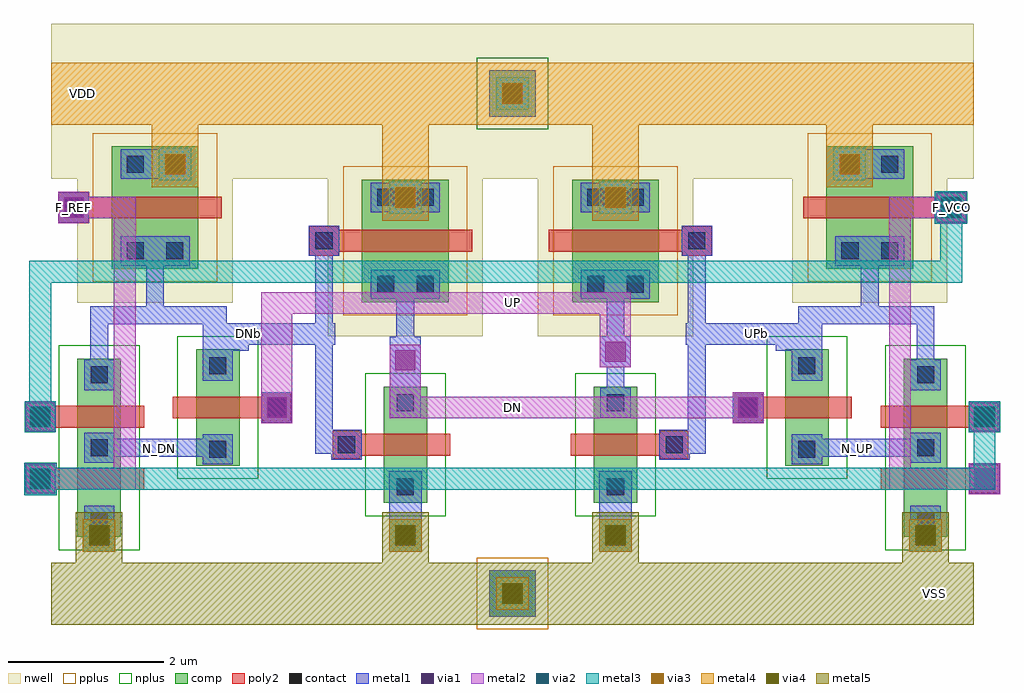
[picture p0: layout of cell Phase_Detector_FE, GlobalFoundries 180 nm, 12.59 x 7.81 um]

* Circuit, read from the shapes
.subckt Phase_Detector_FE DN DNb F_REF F_VCO N_DN N_UP UP UPb VDD VSS
XM1 N_DN F_REF VSS VSS nfet_03v3 w=0.56u l=0.28u
XM2 DNb F_VCO N_DN VSS nfet_03v3 w=0.56u l=0.28u
XM3 DNb UP N_DN VSS nfet_03v3 w=0.56u l=0.28u
XM4 DN DNb VSS VSS nfet_03v3 w=0.56u l=0.28u
XM5 UP UPb VSS VSS nfet_03v3 w=0.56u l=0.28u
XM6 UPb DN N_UP VSS nfet_03v3 w=0.56u l=0.28u
XM7 N_UP F_VCO VSS VSS nfet_03v3 w=0.56u l=0.28u
XM8 UPb F_REF N_UP VSS nfet_03v3 w=0.56u l=0.28u
XM9 VDD F_REF DNb VDD pfet_03v3 w=1.12u l=0.28u
XM10 VDD DNb DN VDD pfet_03v3 w=1.12u l=0.28u
XM11 VDD UPb UP VDD pfet_03v3 w=1.12u l=0.28u
XM12 VDD F_VCO UPb VDD pfet_03v3 w=1.12u l=0.28u
.ends

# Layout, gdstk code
from math import pi, radians
import gdstk
lib = gdstk.Library(unit=1e-6, precision=1e-09)
def R(c, l, rs):  # rectangles x0, y0, x1, y1
    for r in rs: c.add(gdstk.rectangle(r[:2], r[2:], *l))
def A(c, l, x, y, w, h, nx, ny, dx, dy):  # array of equal rectangles
    R(c, l, [(x+i*dx, y+j*dy, x+i*dx+w, y+j*dy+h) for i in range(nx) for j in range(ny)])
nwell = (21, 0)
comp = (22, 0)
poly2 = (30, 0)
pplus = (31, 0)
nplus = (32, 0)
contact = (33, 0)
metal1 = (34, 0)
via1 = (35, 0)
metal2 = (36, 0)
via2 = (38, 0)
via3 = (40, 0)
via4 = (41, 0)
metal3 = (42, 0)
metal4 = (46, 0)
metal5 = (81, 0)

via_dev = lib.new_cell('via_dev')
R(via_dev, metal1, [(0,0,0.4,0.4)])
R(via_dev, via1, [(0.07,0.07,0.33,0.33)])
R(via_dev, metal2, [(0,0,0.4,0.4)])

nfet_1 = lib.new_cell('nfet$1')
R(nfet_1, comp, [(-0.42,0,0,0.56), (0,0,0.66,0.56), (0.66,0,1.08,0.56)])
R(nfet_1, poly2, [(0.19,-0.3,0.47,0.86), (0.15,0.86,0.51,1.22)])
R(nfet_1, nplus, [(-0.59,-0.24,1.25,0.8)])
R(nfet_1, contact, [(-0.32,0.17,-0.1,0.39), (0.76,0.17,0.98,0.39), (0.22,0.93,0.44,1.15)])
R(nfet_1, metal1, [(-0.405,0.085,-0.015,0.475), (0.675,0.085,1.065,0.475), (-0.4,0.089,-0.02,0.471), (0.68,0.089,1.06,0.471), (0.135,0.845,0.525,1.235), (0.14,0.849,0.52,1.231)])

pfet = lib.new_cell('pfet')
R(pfet, nwell, [(-0.9,-0.44,1.56,1.56)])
R(pfet, comp, [(-0.46,0,0,1.12), (0,0,0.66,1.12), (0.66,0,1.12,1.12)])
R(pfet, poly2, [(0.19,-0.3,0.47,1.42), (0.14,1.42,0.52,1.8)])
R(pfet, pplus, [(-0.63,-0.24,1.29,1.36)])
R(pfet, contact, [(-0.34,0.195,-0.12,0.415), (0.78,0.195,1,0.415), (-0.34,0.705,-0.12,0.925), (0.78,0.705,1,0.925), (0.22,1.5,0.44,1.72)])
R(pfet, metal1, [(-0.42,0.115,-0.04,1.005), (0.7,0.115,1.08,1.005), (0.135,1.415,0.525,1.805), (0.14,1.419,0.52,1.801)])

inverter = lib.new_cell('Inverter')
inverter.add(gdstk.FlexPath([(0.02,-0.96),(0.02,0.57)], 0.23, ends="flush", simple_path=True, layer=34, datatype=0))  # metal1
inverter.add(gdstk.FlexPath([(-0.74,-1.5),(-1.03,-1.5),(-1.03,1.13)], 0.23, ends="flush", simple_path=True, layer=34, datatype=0))  # metal1
inverter.add(gdstk.Reference(nfet_1, (0.3,-1.83), rotation=pi/2))
inverter.add(gdstk.Reference(pfet, (0.58,0.8), rotation=pi/2))

nfet_2 = lib.new_cell('nfet$2')
R(nfet_2, comp, [(-0.42,0,0,0.56), (0,0,0.66,0.56), (0.66,0,1.08,0.56)])
R(nfet_2, poly2, [(0.15,-0.66,0.51,-0.3), (0.19,-0.3,0.47,0.86)])
R(nfet_2, nplus, [(-0.59,-0.24,1.25,0.8)])
R(nfet_2, contact, [(0.22,-0.59,0.44,-0.37), (-0.32,0.17,-0.1,0.39), (0.76,0.17,0.98,0.39)])
R(nfet_2, metal1, [(0.135,-0.675,0.525,-0.285), (0.14,-0.671,0.52,-0.289), (-0.405,0.085,-0.015,0.475), (0.675,0.085,1.065,0.475), (-0.4,0.089,-0.02,0.471), (0.68,0.089,1.06,0.471)])

nfet = lib.new_cell('nfet')
R(nfet, comp, [(-0.42,0,0,0.56), (0,0,1.46,0.56), (1.46,0,1.88,0.56)])
R(nfet, poly2, [(0.19,-0.3,0.47,0.86), (0.99,-0.3,1.27,0.86), (0.15,0.86,0.51,1.22), (0.95,0.86,1.31,1.22)])
R(nfet, nplus, [(-0.59,-0.24,2.05,0.8)])
A(nfet, contact, -0.32, 0.17, 0.22, 0.22, 3, 1, 0.94, 0)
R(nfet, contact, [(0.22,0.93,0.44,1.15), (1.02,0.93,1.24,1.15)])
A(nfet, metal1, -0.405, 0.085, 0.39, 0.39, 3, 1, 0.94, 0)
A(nfet, metal1, -0.4, 0.089, 0.38, 0.382, 3, 1, 0.94, 0)
R(nfet, metal1, [(0.135,0.845,0.525,1.235), (0.935,0.845,1.325,1.235), (0.14,0.849,0.52,1.231), (0.94,0.849,1.32,1.231)])

phase_blk = lib.new_cell('Phase_BLK')
R(phase_blk, via1, [(-1.97,-2.3,-1.71,-2.04), (-1.97,-1.5,-1.71,-1.24), (1.08,-1.38,1.34,-1.12), (-1.54,1.2,-1.28,1.46)])
R(phase_blk, metal2, [(-2.04,-2.37,-1.64,-1.97), (-2.04,-1.57,-1.64,-1.17), (1.01,-1.45,1.41,-1.05), (-1.61,1.13,-1.21,1.53)])
R(phase_blk, via2, [(-1.97,-1.5,-1.71,-1.24)])
R(phase_blk, metal3, [(-2.04,-1.57,-1.64,-1.17)])
phase_blk.add(gdstk.FlexPath([(-1.08,-1.77),(0.48,-1.77)], 0.23, ends="flush", simple_path=True, layer=34, datatype=0))  # metal1
phase_blk.add(gdstk.FlexPath([(0.45,-0.71),(0.45,-0.06),(-0.36,-0.06),(-0.36,0.77),(-0.36,0.77)], 0.23, ends="flush", simple_path=True, layer=34, datatype=0))  # metal1
phase_blk.add(gdstk.FlexPath([(-1.08,-0.83),(-1.08,-0.06),(-0.31,-0.06)], 0.23, ends="flush", simple_path=True, layer=34, datatype=0))  # metal1
phase_blk.add(gdstk.FlexPath([(-1.84,-2.17),(-0.75,-2.17),(-0.75,1.33),(-1.41,1.33)], 0.28, ends="flush", simple_path=True, layer=36, datatype=0))  # metal2
phase_blk.add(gdstk.Reference(nfet_2, (0.73,-1.58), rotation=pi/2))
phase_blk.add(gdstk.Reference(nfet, (-0.8,-2.5), rotation=pi/2))
phase_blk.add(gdstk.Reference(pfet, (0.2,1), rotation=pi/2))

routing_and_tap_repairs = lib.new_cell('Routing_and_Tap_Repairs')
R(routing_and_tap_repairs, nwell, [(-4.4,2.2,7.5,4.2)])
R(routing_and_tap_repairs, comp, [(1.25,-3.45,1.85,-2.85), (1.25,3,1.85,3.6)])
R(routing_and_tap_repairs, pplus, [(1.09,-3.61,2.01,-2.69)])
R(routing_and_tap_repairs, nplus, [(1.09,2.84,2.01,3.76)])
R(routing_and_tap_repairs, contact, [(1.44,-3.26,1.66,-3.04), (1.44,3.19,1.66,3.41)])
R(routing_and_tap_repairs, metal1, [(1.25,-3.45,1.85,-2.85), (1.34,-3.36,1.76,-2.94), (-3.99,-2.61,-3.57,-2.19), (-0.04,-2.61,0.38,-2.19), (-0.04,-2.61,0.38,-1.575), (2.67,-2.61,3.09,-2.19), (2.67,-2.61,3.09,-1.575), (6.67,-2.61,7.09,-2.19), (-0.03,-0.885,0.37,0.16), (-2.445,-0.015,-1.85,0.34), (4.95,-0.015,5.545,0.34), (-0.04,1.75,0.38,2.17), (2.67,1.75,3.09,2.17), (-3.01,2.18,-2.59,2.6), (5.69,2.18,6.11,2.6), (1.25,3,1.85,3.6), (1.34,3.09,1.76,3.51)])
R(routing_and_tap_repairs, via1, [(1.42,-3.28,1.68,-3.02), (-3.91,-2.53,-3.65,-2.27), (0.04,-2.53,0.3,-2.27), (2.75,-2.53,3.01,-2.27), (6.75,-2.53,7.01,-2.27), (0.04,1.83,0.3,2.09), (2.75,1.83,3.01,2.09), (-2.93,2.26,-2.67,2.52), (5.77,2.26,6.03,2.52), (1.42,3.17,1.68,3.43)])
R(routing_and_tap_repairs, metal2, [(1.34,-3.36,1.76,-2.94), (-3.99,-2.61,-3.57,-2.19), (-0.04,-2.61,0.38,-2.19), (2.67,-2.61,3.09,-2.19), (6.67,-2.61,7.09,-2.19), (-4.75,-1.88,-4.33,-1.46), (-1.69,-0.95,-1.29,0.74), (-0.03,-0.89,4.79,-0.61), (-0.03,-0.89,0.37,0.06), (2.68,-0.23,3.08,0.74), (-1.69,0.46,3.08,0.74), (7,1.62,7.42,2.04), (-0.04,1.75,0.38,2.17), (2.67,1.75,3.09,2.17), (-3.01,2.18,-2.59,2.6), (5.69,2.18,6.11,2.6), (1.34,3.09,1.76,3.51)])
R(routing_and_tap_repairs, via2, [(1.42,-3.28,1.68,-3.02), (-3.91,-2.53,-3.65,-2.27), (0.04,-2.53,0.3,-2.27), (2.75,-2.53,3.01,-2.27), (6.75,-2.53,7.01,-2.27), (-4.67,-1.8,-4.41,-1.54), (7.08,1.7,7.34,1.96), (0.04,1.83,0.3,2.09), (2.75,1.83,3.01,2.09), (-2.93,2.26,-2.67,2.52), (5.77,2.26,6.03,2.52), (1.42,3.17,1.68,3.43)])
R(routing_and_tap_repairs, via3, [(1.42,-3.28,1.68,-3.02), (-3.91,-2.53,-3.65,-2.27), (0.04,-2.53,0.3,-2.27), (2.75,-2.53,3.01,-2.27), (6.75,-2.53,7.01,-2.27), (0.04,1.83,0.3,2.09), (2.75,1.83,3.01,2.09), (-2.93,2.26,-2.67,2.52), (5.77,2.26,6.03,2.52), (1.42,3.17,1.68,3.43)])
R(routing_and_tap_repairs, via4, [(1.42,-3.28,1.68,-3.02), (-3.91,-2.53,-3.65,-2.27), (0.04,-2.53,0.3,-2.27), (2.75,-2.53,3.01,-2.27), (6.75,-2.53,7.01,-2.27)])
R(routing_and_tap_repairs, metal3, [(1.34,-3.36,1.76,-2.94), (-3.99,-2.61,-3.57,-2.19), (-0.04,-2.61,0.38,-2.19), (2.67,-2.61,3.09,-2.19), (6.67,-2.61,7.09,-2.19), (-4.75,-1.88,-4.33,-1.46), (7,1.62,7.42,2.04), (-0.04,1.75,0.38,2.17), (2.67,1.75,3.09,2.17), (-3.01,2.18,-2.59,2.6), (5.69,2.18,6.11,2.6), (1.34,3.09,1.76,3.51)])
R(routing_and_tap_repairs, metal4, [(1.34,-3.36,1.76,-2.94), (-3.99,-2.61,-3.57,-2.19), (-0.04,-2.61,0.38,-2.19), (2.67,-2.61,3.09,-2.19), (6.67,-2.61,7.09,-2.19), (-0.13,1.66,0.47,3.6), (2.58,1.66,3.18,3.6), (-0.04,1.75,0.38,2.17), (2.67,1.75,3.09,2.17), (-3.1,2.09,-2.5,3.6), (5.6,2.09,6.2,3.6), (-3.01,2.18,-2.59,2.6), (5.69,2.18,6.11,2.6), (-4.4,2.9,7.5,3.7), (1.25,3,1.85,3.6), (1.34,3.09,1.76,3.51)])
R(routing_and_tap_repairs, metal5, [(-4.4,-3.55,7.5,-2.75), (-4.08,-3.45,-3.48,-2.1), (-0.13,-3.45,0.47,-2.1), (2.58,-3.45,3.18,-2.1), (6.58,-3.45,7.18,-2.1), (1.34,-3.36,1.76,-2.94), (-3.99,-2.61,-3.57,-2.19), (-0.04,-2.61,0.38,-2.19), (2.67,-2.61,3.09,-2.19), (6.67,-2.61,7.09,-2.19)])
routing_and_tap_repairs.add(gdstk.FlexPath([(-2.25,0.2),(-0.735,0.2)], 0.28, ends="flush", simple_path=True, layer=34, datatype=0))  # metal1
routing_and_tap_repairs.add(gdstk.FlexPath([(3.785,0.2),(5.35,0.2)], 0.28, ends="flush", simple_path=True, layer=34, datatype=0))  # metal1
routing_and_tap_repairs.add(gdstk.FlexPath([(-4.54,-1.67),(7.64,-1.67),(7.64,-0.87)], 0.28, ends="flush", simple_path=True, layer=42, datatype=0))  # metal3
routing_and_tap_repairs.add(gdstk.FlexPath([(7.21,1.83),(7.21,1),(-4.54,1),(-4.54,-0.87)], 0.28, ends="flush", simple_path=True, layer=42, datatype=0))  # metal3

phase_detector_fe = lib.new_cell('Phase_Detector_FE')
phase_detector_fe.add(gdstk.Reference(via_dev, (-0.03,-0.34)))
phase_detector_fe.add(gdstk.Reference(via_dev, (3.08,-0.23), rotation=pi, x_reflection=True))
phase_detector_fe.add(gdstk.Reference(inverter, (0.15,0.27)))
phase_detector_fe.add(gdstk.Reference(inverter, (2.9,0.27), rotation=pi, x_reflection=True))
phase_detector_fe.add(gdstk.Reference(phase_blk, (-2.7,0.5)))
phase_detector_fe.add(gdstk.Reference(phase_blk, (5.8,0.5), rotation=pi, x_reflection=True))
phase_detector_fe.add(gdstk.Reference(routing_and_tap_repairs, (0,0)))
phase_detector_fe.add(gdstk.Label('VDD', (-4,3.3), layer=46, texttype=10))
phase_detector_fe.add(gdstk.Label('VSS', (7,-3.15), layer=81, texttype=10))
phase_detector_fe.add(gdstk.Label('F_REF', (-4.11,1.83), layer=36, texttype=10))
phase_detector_fe.add(gdstk.Label('UP', (1.55,0.6), layer=36, texttype=10))
phase_detector_fe.add(gdstk.Label('DN', (1.55,-0.75), layer=36, texttype=10))
phase_detector_fe.add(gdstk.Label('F_VCO', (7.21,1.83), layer=42, texttype=10))
phase_detector_fe.add(gdstk.Label('UPb', (4.7,0.2), layer=34, texttype=10))
phase_detector_fe.add(gdstk.Label('DNb', (-1.85,0.2), layer=34, texttype=10))
phase_detector_fe.add(gdstk.Label('N_DN', (-3,-1.28), layer=34, texttype=10))
phase_detector_fe.add(gdstk.Label('N_UP', (6,-1.28), layer=34, texttype=10))

lib.write_gds('Phase_Detector_FE.gds')
